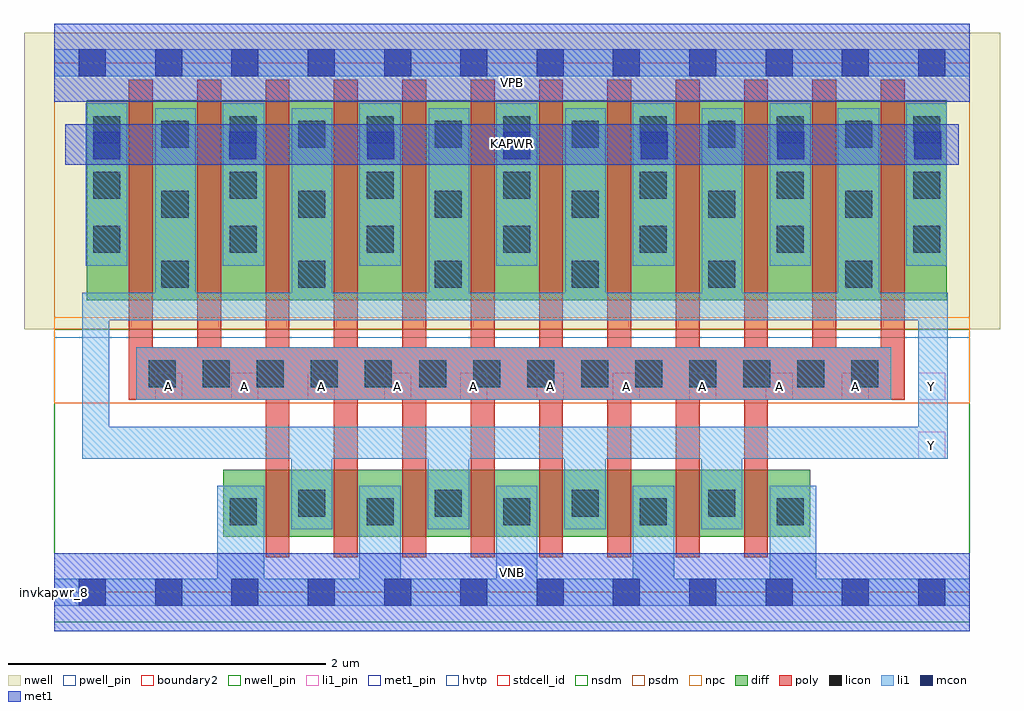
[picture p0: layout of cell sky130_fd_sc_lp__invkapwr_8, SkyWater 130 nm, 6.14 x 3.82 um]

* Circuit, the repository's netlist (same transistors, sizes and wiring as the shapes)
* Copyright 2020 The SkyWater PDK Authors
*
* Licensed under the Apache License, Version 2.0 (the "License");
* you may not use this file except in compliance with the License.
* You may obtain a copy of the License at
*
*     https://www.apache.org/licenses/LICENSE-2.0
*
* Unless required by applicable law or agreed to in writing, software
* distributed under the License is distributed on an "AS IS" BASIS,
* WITHOUT WARRANTIES OR CONDITIONS OF ANY KIND, either express or implied.
* See the License for the specific language governing permissions and
* limitations under the License.
*
* SPDX-License-Identifier: Apache-2.0

.SUBCKT sky130_fd_sc_lp__invkapwr_8 A KAPWR VGND VNB VPB VPWR Y
*.PININFO A:I KAPWR:I VGND:I VNB:I VPB:I VPWR:I Y:O
MMIP0 Y A KAPWR VPB sky130_fd_pr__pfet_01v8_hvt m=12 w=1.26U l=0.15U mult=1 sa=0.265
+ sb=0.265 sd=0.28 area=0.063 perim=1.14
MMIN0 Y A VGND VNB sky130_fd_pr__nfet_01v8 m=8 w=0.42U l=0.15U mult=1 sa=0.265
+ sb=0.265 sd=0.28 area=0.063 perim=1.14
.ENDS sky130_fd_sc_lp__invkapwr_8

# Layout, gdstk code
import gdstk
lib = gdstk.Library(unit=1e-6, precision=1e-09)
def R(c, l, rs):  # rectangles x0, y0, x1, y1
    for r in rs: c.add(gdstk.rectangle(r[:2], r[2:], *l))
def A(c, l, x, y, w, h, nx, ny, dx, dy):  # array of equal rectangles
    R(c, l, [(x+i*dx, y+j*dy, x+i*dx+w, y+j*dy+h) for i in range(nx) for j in range(ny)])
def P(c, l, *ps):  # polygons
    for p in ps: c.add(gdstk.Polygon(p, *l))
nwell_pin = (64, 16)
nwell = (64, 20)
diff = (65, 20)
poly = (66, 20)
licon = (66, 44)
li1_pin = (67, 16)
li1 = (67, 20)
mcon = (67, 44)
met1_pin = (68, 16)
met1 = (68, 20)
hvtp = (78, 44)
stdcell_id = (81, 4)
nsdm = (93, 44)
psdm = (94, 20)
npc = (95, 20)
pwell_pin = (122, 16)
boundary2 = (236, 0)

sky130_fd_sc_lp__invkapw = lib.new_cell('sky130_fd_sc_lp__invkapwr_8')
R(sky130_fd_sc_lp__invkapw, nwell_pin, [(0,3.085,5.76,3.33)])
R(sky130_fd_sc_lp__invkapw, nwell, [(-0.19,1.655,5.95,3.52)])
R(sky130_fd_sc_lp__invkapw, diff, [(1.065,0.35,4.755,0.77), (0.205,1.835,5.615,3.095)])
P(sky130_fd_sc_lp__invkapw, poly, [(5.35,3.225),(5.2,3.225),(5.2,1.54),(4.92,1.54),(4.92,3.225),(4.77,3.225),(4.77,1.54),(4.49,1.54),(4.49,3.225),(4.34,3.225),(4.34,1.54),(4.06,1.54),(4.06,3.225),(3.91,3.225),(3.91,1.54),(3.63,1.54),(3.63,3.225),(3.48,3.225),(3.48,1.54),(3.2,1.54),(3.2,3.225),(3.05,3.225),(3.05,1.54),(2.77,1.54),(2.77,3.225),(2.62,3.225),(2.62,1.54),(2.34,1.54),(2.34,3.225),(2.19,3.225),(2.19,1.54),(1.91,1.54),(1.91,3.225),(1.76,3.225),(1.76,1.54),(1.48,1.54),(1.48,3.225),(1.33,3.225),(1.33,1.54),(1.05,1.54),(1.05,3.225),(0.9,3.225),(0.9,1.54),(0.62,1.54),(0.62,3.225),(0.47,3.225),(0.47,1.21),(1.33,1.21),(1.33,0.22),(1.48,0.22),(1.48,1.21),(1.76,1.21),(1.76,0.22),(1.91,0.22),(1.91,1.21),(2.19,1.21),(2.19,0.22),(2.34,0.22),(2.34,1.21),(2.62,1.21),(2.62,0.22),(2.77,0.22),(2.77,1.21),(3.05,1.21),(3.05,0.22),(3.2,0.22),(3.2,1.21),(3.48,1.21),(3.48,0.22),(3.63,0.22),(3.63,1.21),(3.91,1.21),(3.91,0.22),(4.06,0.22),(4.06,1.21),(4.34,1.21),(4.34,0.22),(4.49,0.22),(4.49,1.21),(5.35,1.21)])
A(sky130_fd_sc_lp__invkapw, licon, 1.105, 0.42, 0.17, 0.17, 5, 1, 0.86, 0)
A(sky130_fd_sc_lp__invkapw, licon, 1.535, 0.475, 0.17, 0.17, 4, 1, 0.86, 0)
A(sky130_fd_sc_lp__invkapw, licon, 0.595, 1.29, 0.17, 0.17, 14, 1, 0.34, 0)
A(sky130_fd_sc_lp__invkapw, licon, 0.675, 1.915, 0.17, 0.17, 6, 3, 0.86, 0.44)
A(sky130_fd_sc_lp__invkapw, licon, 0.245, 2.135, 0.17, 0.17, 7, 2, 0.86, 0.34)
A(sky130_fd_sc_lp__invkapw, licon, 0.245, 2.825, 0.17, 0.17, 7, 1, 0.86, 0)
A(sky130_fd_sc_lp__invkapw, li1_pin, 0.635, 1.21, 0.17, 0.17, 11, 1, 0.48, 0)
R(sky130_fd_sc_lp__invkapw, li1_pin, [(5.435,0.84,5.605,1.01)])
A(sky130_fd_sc_lp__invkapw, li1, 0.2, 2.055, 0.26, 1.02, 6, 1, 0.86, 0)
R(sky130_fd_sc_lp__invkapw, li1, [(0.515,1.21,5.265,1.54), (5.36,2.055,5.615,3.075), (0,3.245,5.76,3.415)])
P(sky130_fd_sc_lp__invkapw, li1, [(5.76,0.085),(4.795,0.085),(4.795,0.67),(4.5,0.67),(4.5,0.085),(3.9,0.085),(3.9,0.67),(3.64,0.67),(3.64,0.085),(3.04,0.085),(3.04,0.67),(2.78,0.67),(2.78,0.085),(2.18,0.085),(2.18,0.67),(1.92,0.67),(1.92,0.085),(1.32,0.085),(1.32,0.67),(1.025,0.67),(1.025,0.085),(0,0.085),(0,-0.085),(5.76,-0.085)],
  [(5.62,1.885),(5.435,1.885),(5.435,1.04),(0.345,1.04),(0.345,1.71),(5.435,1.71),(5.435,1.885),(5.19,1.885),(5.19,3.045),(4.93,3.045),(4.93,1.885),(4.33,1.885),(4.33,3.045),(4.075,3.045),(4.075,1.885),(3.47,1.885),(3.47,3.045),(3.215,3.045),(3.215,1.885),(2.61,1.885),(2.61,3.045),(2.355,3.045),(2.355,1.885),(1.75,1.885),(1.75,3.045),(1.495,3.045),(1.495,1.885),(0.89,1.885),(0.89,3.045),(0.635,3.045),(0.635,1.885),(0.175,1.885),(0.175,0.84),(1.49,0.84),(1.49,0.395),(1.75,0.395),(1.75,0.84),(2.35,0.84),(2.35,0.395),(2.61,0.395),(2.61,0.84),(3.21,0.84),(3.21,0.395),(3.47,0.395),(3.47,0.84),(4.07,0.84),(4.07,0.395),(4.33,0.395),(4.33,0.84),(5.62,0.84)])
A(sky130_fd_sc_lp__invkapw, mcon, 0.155, -0.085, 0.17, 0.17, 12, 2, 0.48, 3.33)
A(sky130_fd_sc_lp__invkapw, mcon, 3.69, 2.725, 0.17, 0.17, 3, 1, 0.86, 0)
R(sky130_fd_sc_lp__invkapw, mcon, [(0.245,2.725,0.415,2.895), (1.1,2.725,1.27,2.895), (1.97,2.725,2.14,2.895), (2.825,2.725,2.995,2.895)])
R(sky130_fd_sc_lp__invkapw, met1_pin, [(0,0,5.76,0.245), (0.07,2.69,5.69,2.945), (0,3.085,5.76,3.33)])
R(sky130_fd_sc_lp__invkapw, met1, [(0,-0.245,5.76,0.245), (0.07,2.69,5.69,2.945), (0,3.085,5.76,3.575)])
R(sky130_fd_sc_lp__invkapw, hvtp, [(0,1.6,5.76,3.33)])
R(sky130_fd_sc_lp__invkapw, stdcell_id, [(0,0,5.76,3.33)])
R(sky130_fd_sc_lp__invkapw, nsdm, [(0,-0.19,5.76,1.655)])
R(sky130_fd_sc_lp__invkapw, psdm, [(0,1.655,5.76,3.52)])
R(sky130_fd_sc_lp__invkapw, npc, [(0,1.19,5.76,1.73)])
R(sky130_fd_sc_lp__invkapw, pwell_pin, [(0,0,5.76,0.245)])
R(sky130_fd_sc_lp__invkapw, boundary2, [(0,0,5.76,3.33)])
sky130_fd_sc_lp__invkapw.add(gdstk.Label('VNB', (2.88,0.123), layer=64, texttype=59))
sky130_fd_sc_lp__invkapw.add(gdstk.Label('VPB', (2.88,3.208), layer=64, texttype=5))
sky130_fd_sc_lp__invkapw.add(gdstk.Label('invkapwr_8', (0,0), layer=83, texttype=44))
sky130_fd_sc_lp__invkapw.add(gdstk.Label('VPWR', (2.88,3.208), layer=68, texttype=5))
sky130_fd_sc_lp__invkapw.add(gdstk.Label('VGND', (2.88,0.123), layer=68, texttype=5))
sky130_fd_sc_lp__invkapw.add(gdstk.Label('KAPWR', (2.88,2.82), layer=68, texttype=5))
sky130_fd_sc_lp__invkapw.add(gdstk.Label('A', (4.56,1.295), layer=67, texttype=5))
sky130_fd_sc_lp__invkapw.add(gdstk.Label('A', (5.04,1.295), layer=67, texttype=5))
sky130_fd_sc_lp__invkapw.add(gdstk.Label('Y', (5.52,0.925), layer=67, texttype=5))
sky130_fd_sc_lp__invkapw.add(gdstk.Label('Y', (5.52,1.295), layer=67, texttype=5))
sky130_fd_sc_lp__invkapw.add(gdstk.Label('A', (3.12,1.295), layer=67, texttype=5))
sky130_fd_sc_lp__invkapw.add(gdstk.Label('A', (4.08,1.295), layer=67, texttype=5))
sky130_fd_sc_lp__invkapw.add(gdstk.Label('A', (3.6,1.295), layer=67, texttype=5))
sky130_fd_sc_lp__invkapw.add(gdstk.Label('A', (0.72,1.295), layer=67, texttype=5))
sky130_fd_sc_lp__invkapw.add(gdstk.Label('A', (1.68,1.295), layer=67, texttype=5))
sky130_fd_sc_lp__invkapw.add(gdstk.Label('A', (1.2,1.295), layer=67, texttype=5))
sky130_fd_sc_lp__invkapw.add(gdstk.Label('A', (2.16,1.295), layer=67, texttype=5))
sky130_fd_sc_lp__invkapw.add(gdstk.Label('A', (2.64,1.295), layer=67, texttype=5))

lib.write_gds('sky130_fd_sc_lp__invkapwr_8.gds')
